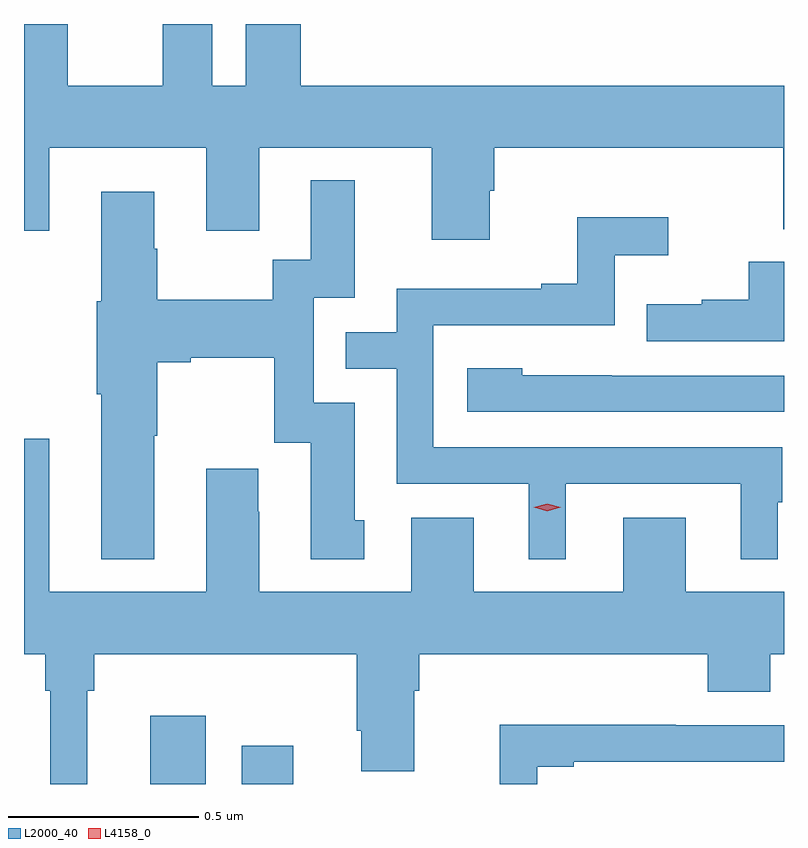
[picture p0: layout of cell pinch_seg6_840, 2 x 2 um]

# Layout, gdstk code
import gdstk
lib = gdstk.Library(unit=1e-6, precision=1e-09)
def R(c, l, rs):  # rectangles x0, y0, x1, y1
    for r in rs: c.add(gdstk.rectangle(r[:2], r[2:], *l))
def P(c, l, *ps):  # polygons
    for p in ps: c.add(gdstk.Polygon(p, *l))
L2000_40 = (2000, 40)
L4158_0 = (4158, 0)

pinch_seg6_840 = lib.new_cell('pinch_seg6_840')
R(pinch_seg6_840, L2000_40, [(238.82,966.974,238.966,967.153), (239.061,966.974,239.197,967.075)])
P(pinch_seg6_840, L2000_40, [(239.713,968.535),(239.726,968.535),(239.726,968.648),(240.486,968.648),(240.486,968.434),(240.488,968.434),(240.488,968.812),(239.216,968.812),(239.216,968.974),(239.072,968.974),(239.072,968.812),(238.984,968.812),(238.984,968.974),(238.853,968.974),(238.853,968.812),(238.603,968.812),(238.603,968.974),(238.488,968.974),(238.488,968.43),(238.555,968.43),(238.555,968.648),(238.967,968.648),(238.967,968.43),(239.107,968.43),(239.107,968.648),(239.561,968.648),(239.561,968.406),(239.713,968.406)],
  [(238.831,967.891),(238.839,967.891),(238.839,968.084),(238.927,968.084),(238.927,968.096),(239.147,968.096),(239.147,967.872),(239.243,967.872),(239.243,967.566),(239.383,967.566),(239.383,967.668),(239.359,967.668),(239.359,967.977),(239.25,967.977),(239.25,968.253),(239.359,968.253),(239.359,968.563),(239.243,968.563),(239.243,968.354),(239.142,968.354),(239.142,968.248),(238.839,968.248),(238.839,968.382),(238.831,968.382),(238.831,968.533),(238.691,968.533),(238.691,968.244),(238.679,968.244),(238.679,968),(238.691,968),(238.691,967.565),(238.831,967.565)],
  [(239.914,967.764),(240.374,967.764),(240.374,967.565),(240.472,967.565),(240.472,967.716),(240.484,967.716),(240.484,967.86),(239.565,967.86),(239.565,968.181),(240.042,968.181),(240.042,968.366),(240.184,968.366),(240.184,968.465),(239.944,968.465),(239.944,968.29),(239.849,968.29),(239.849,968.277),(239.469,968.277),(239.469,968.163),(239.335,968.163),(239.335,968.067),(239.469,968.067),(239.469,967.764),(239.816,967.764),(239.816,967.565),(239.914,967.565)],
  [(240.488,968.349),(240.395,968.349),(240.395,968.248),(240.271,968.248),(240.271,968.236),(240.127,968.236),(240.127,968.139),(240.488,968.139)],
  [(240.488,968.049),(240.035,968.049),(240.035,968.05),(239.799,968.05),(239.799,968.068),(239.655,968.068),(239.655,967.953),(240.488,967.953)],
  [(238.654,967.22),(238.673,967.22),(238.673,967.316),(239.363,967.316),(239.363,967.114),(239.375,967.114),(239.375,967.007),(239.515,967.007),(239.515,967.22),(239.528,967.22),(239.528,967.316),(240.287,967.316),(240.287,967.217),(240.452,967.217),(240.452,967.316),(240.488,967.316),(240.488,967.48),(240.229,967.48),(240.229,967.675),(240.065,967.675),(240.065,967.48),(239.671,967.48),(239.671,967.675),(239.507,967.675),(239.507,967.48),(239.107,967.48),(239.107,967.691),(239.104,967.691),(239.104,967.804),(238.967,967.804),(238.967,967.48),(238.555,967.48),(238.555,967.882),(238.488,967.882),(238.488,967.316),(238.544,967.316),(238.544,967.22),(238.557,967.22),(238.557,966.974),(238.654,966.974)],
  [(239.838,967.02),(239.935,967.02),(239.935,967.032),(240.488,967.032),(240.488,967.128),(240.203,967.128),(240.203,967.13),(239.74,967.13),(239.74,966.974),(239.838,966.974)])
P(pinch_seg6_840, L4158_0, [(239.865,967.692),(239.829,967.702),(239.829,967.702),(239.829,967.702),(239.865,967.712),(239.901,967.702),(239.901,967.702),(239.901,967.702)])

lib.write_gds('pinch_seg6_840.gds')
